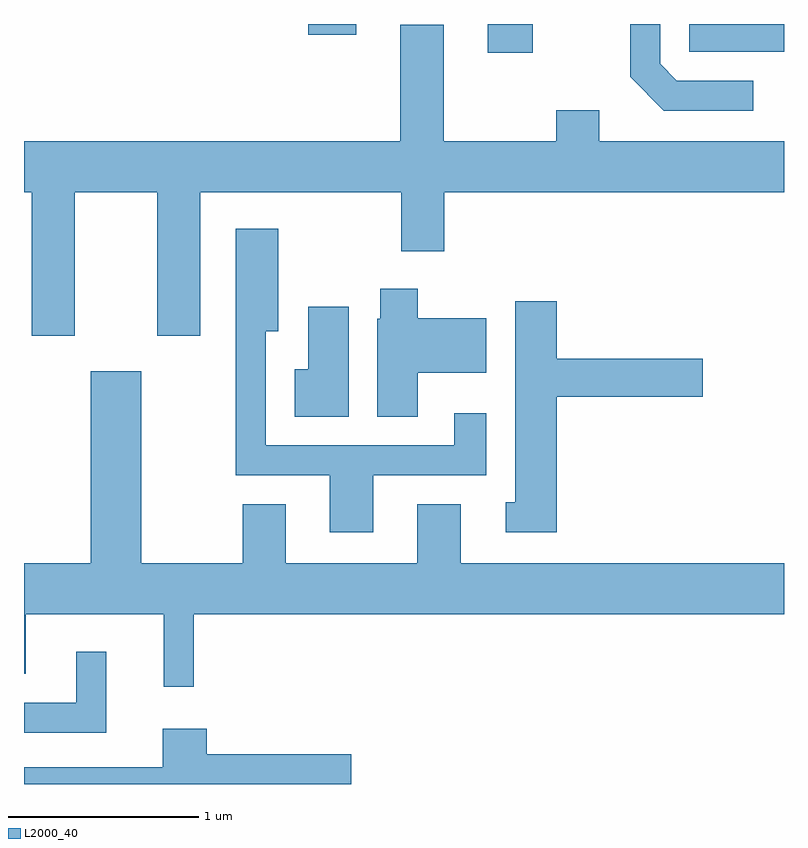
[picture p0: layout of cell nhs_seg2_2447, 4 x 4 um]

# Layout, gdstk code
import gdstk
lib = gdstk.Library(unit=1e-6, precision=1e-09)
def R(c, l, rs):  # rectangles x0, y0, x1, y1
    for r in rs: c.add(gdstk.rectangle(r[:2], r[2:], *l))
def P(c, l, *ps):  # polygons
    for p in ps: c.add(gdstk.Polygon(p, *l))
L2000_40 = (2000, 40)

nhs_seg2_2447 = lib.new_cell('nhs_seg2_2447')
R(nhs_seg2_2447, L2000_40, [(258.051,1115.651,258.288,1115.802), (259.111,1115.656,259.611,1115.802), (257.106,1115.746,257.359,1115.802)])
P(nhs_seg2_2447, L2000_40, [(259.448,1115.504),(259.046,1115.504),(258.959,1115.592),(258.959,1115.802),(258.801,1115.802),(258.801,1115.524),(258.979,1115.346),(259.448,1115.346)],
  [(258.411,1115.349),(258.411,1115.184),(257.819,1115.184),(257.819,1115.799),(257.591,1115.799),(257.591,1115.184),(255.611,1115.184),(255.611,1114.916),(255.651,1114.916),(255.651,1114.161),(255.879,1114.161),(255.879,1114.916),(256.311,1114.916),(256.311,1114.161),(256.539,1114.161),(256.539,1114.916),(257.596,1114.916),(257.596,1114.606),(257.824,1114.606),(257.824,1114.916),(259.611,1114.916),(259.611,1115.184),(258.639,1115.184),(258.639,1115.349)],
  [(257.449,1113.426),(258.044,1113.426),(258.044,1113.753),(257.876,1113.753),(257.876,1113.584),(256.884,1113.584),(256.884,1114.186),(256.949,1114.186),(256.949,1114.724),(256.726,1114.724),(256.726,1113.426),(257.221,1113.426),(257.221,1113.126),(257.449,1113.126)],
  [(257.684,1113.966),(258.044,1113.966),(258.044,1114.254),(257.684,1114.254),(257.684,1114.409),(257.486,1114.409),(257.486,1114.25),(257.471,1114.25),(257.471,1113.736),(257.684,1113.736)],
  [(258.414,1113.841),(259.184,1113.841),(259.184,1114.039),(258.414,1114.039),(258.414,1114.344),(258.196,1114.344),(258.196,1113.284),(258.147,1113.284),(258.147,1113.126),(258.414,1113.126)],
  [(257.319,1114.314),(257.106,1114.314),(257.106,1113.984),(257.036,1113.984),(257.036,1113.736),(257.319,1113.736)],
  [(256.504,1112.696),(259.611,1112.696),(259.611,1112.964),(257.909,1112.964),(257.909,1113.274),(257.681,1113.274),(257.681,1112.964),(256.989,1112.964),(256.989,1113.274),(256.761,1113.274),(256.761,1112.964),(256.229,1112.964),(256.229,1113.974),(255.961,1113.974),(255.961,1112.964),(255.611,1112.964),(255.611,1112.381),(255.619,1112.381),(255.619,1112.696),(256.346,1112.696),(256.346,1112.313),(256.504,1112.313)],
  [(256.044,1112.498),(255.886,1112.498),(255.886,1112.229),(255.611,1112.229),(255.611,1112.071),(256.044,1112.071)],
  [(257.334,1111.959),(256.574,1111.959),(256.574,1112.094),(256.341,1112.094),(256.341,1111.889),(255.611,1111.889),(255.611,1111.802),(257.334,1111.802)])

lib.write_gds('nhs_seg2_2447.gds')
